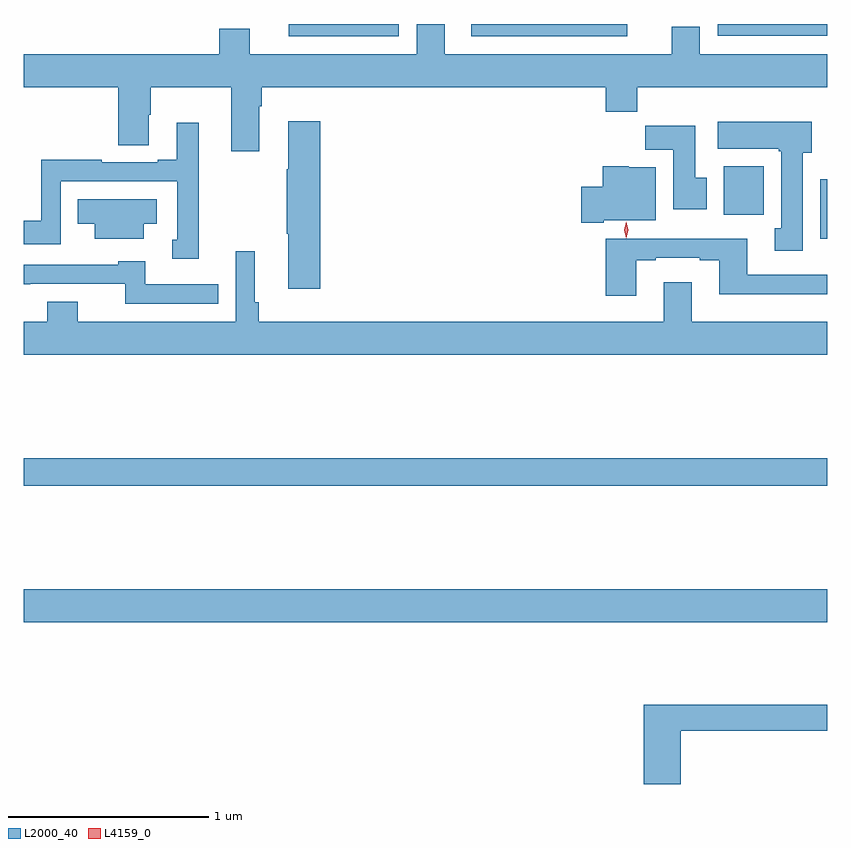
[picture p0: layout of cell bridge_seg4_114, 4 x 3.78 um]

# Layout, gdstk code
import gdstk
lib = gdstk.Library(unit=1e-6, precision=1e-09)
def R(c, l, rs):  # rectangles x0, y0, x1, y1
    for r in rs: c.add(gdstk.rectangle(r[:2], r[2:], *l))
def P(c, l, *ps):  # polygons
    for p in ps: c.add(gdstk.Polygon(p, *l))
L2000_40 = (2000, 40)
L4159_0 = (4159, 0)

bridge_seg4_114 = lib.new_cell('bridge_seg4_114')
R(bridge_seg4_114, L2000_40, [(600.695,792.824,604.695,792.988), (600.695,793.504,604.695,793.64), (604.661,794.732,604.695,795.028), (604.181,794.852,604.378,795.094), (602.013,795.741,602.562,795.802), (602.924,795.741,603.699,795.802), (604.149,795.744,604.695,795.802)])
P(bridge_seg4_114, L2000_40, [(601.867,795.392),(601.88,795.392),(601.88,795.488),(603.593,795.488),(603.593,795.364),(603.749,795.364),(603.749,795.488),(604.695,795.488),(604.695,795.652),(604.06,795.652),(604.06,795.788),(603.92,795.788),(603.92,795.652),(602.791,795.652),(602.791,795.802),(602.651,795.802),(602.651,795.652),(601.819,795.652),(601.819,795.779),(601.667,795.779),(601.667,795.652),(600.695,795.652),(600.695,795.488),(601.166,795.488),(601.166,795.199),(601.318,795.199),(601.318,795.35),(601.326,795.35),(601.326,795.488),(601.727,795.488),(601.727,795.168),(601.867,795.168)],
  [(602.171,795.319),(602.012,795.319),(602.012,795.08),(602.005,795.08),(602.005,794.758),(602.012,794.758),(602.012,794.484),(602.171,794.484)],
  [(604.573,795.162),(604.618,795.162),(604.618,795.316),(604.149,795.316),(604.149,795.182),(604.453,795.182),(604.453,795.169),(604.466,795.169),(604.466,794.786),(604.433,794.786),(604.433,794.673),(604.573,794.673)],
  [(601.567,795.31),(601.457,795.31),(601.457,795.127),(601.361,795.127),(601.361,795.114),(601.082,795.114),(601.082,795.127),(600.781,795.127),(600.781,794.822),(600.695,794.822),(600.695,794.706),(600.879,794.706),(600.879,795.018),(601.458,795.018),(601.458,794.727),(601.433,794.727),(601.433,794.633),(601.567,794.633)],
  [(604.096,795.036),(604.039,795.036),(604.039,795.295),(603.79,795.295),(603.79,795.176),(603.929,795.176),(603.929,794.88),(604.096,794.88)],
  [(603.583,794.825),(603.841,794.825),(603.841,795.088),(603.708,795.088),(603.708,795.094),(603.578,795.094),(603.578,794.991),(603.471,794.991),(603.471,794.813),(603.583,794.813)],
  [(601.291,794.807),(601.357,794.807),(601.357,794.929),(600.964,794.929),(600.964,794.807),(601.049,794.807),(601.049,794.732),(601.291,794.732)],
  [(603.745,794.625),(603.841,794.625),(603.841,794.637),(604.061,794.637),(604.061,794.625),(604.157,794.625),(604.157,794.456),(604.695,794.456),(604.695,794.553),(604.297,794.553),(604.297,794.734),(603.709,794.734),(603.709,794.733),(603.593,794.733),(603.593,794.448),(603.745,794.448)],
  [(604.695,794.32),(604.021,794.32),(604.021,794.515),(603.881,794.515),(603.881,794.32),(601.865,794.32),(601.865,794.416),(601.846,794.416),(601.846,794.671),(601.749,794.671),(601.749,794.32),(600.964,794.32),(600.964,794.419),(600.812,794.419),(600.812,794.32),(600.695,794.32),(600.695,794.156),(604.695,794.156)],
  [(601.664,794.505),(601.3,794.505),(601.3,794.62),(601.164,794.62),(601.164,794.604),(600.695,794.604),(600.695,794.507),(600.728,794.507),(600.728,794.508),(601.201,794.508),(601.201,794.409),(601.664,794.409)],
  [(603.965,792.283),(604.695,792.283),(604.695,792.412),(603.782,792.412),(603.782,792.018),(603.965,792.018)])
P(bridge_seg4_114, L4159_0, [(603.694,794.736),(603.694,794.736),(603.684,794.777),(603.694,794.818),(603.694,794.818),(603.694,794.818),(603.704,794.777),(603.694,794.736)])

lib.write_gds('bridge_seg4_114.gds')
